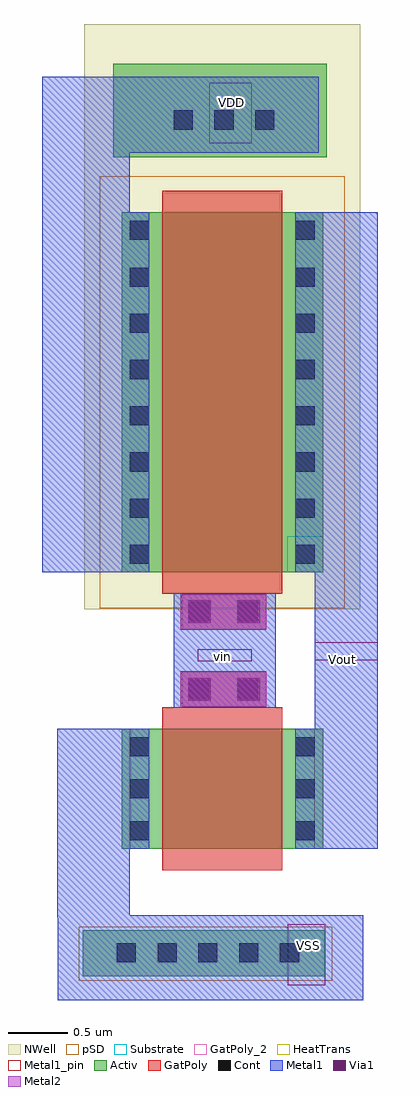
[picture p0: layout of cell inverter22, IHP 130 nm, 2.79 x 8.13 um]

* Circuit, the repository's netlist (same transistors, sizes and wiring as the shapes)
* Extracted by KLayout with SG13G2 LVS runset on : 04/12/2025 01:56

.SUBCKT inverter22
M$1 \$1 \$3 \$2 \$1 sg13_lv_nmos L=1u W=1u AS=0.34p AD=0.34p PS=2.68u PD=2.68u
M$2 \$4 \$3 \$2 \$4 sg13_lv_pmos L=1u W=3u AS=1.02p AD=1.02p PS=6.68u PD=6.68u
.ENDS inverter22

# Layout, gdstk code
from math import pi, radians
import gdstk
lib = gdstk.Library(unit=1e-6, precision=1e-09)
def R(c, l, rs):  # rectangles x0, y0, x1, y1
    for r in rs: c.add(gdstk.rectangle(r[:2], r[2:], *l))
def A(c, l, x, y, w, h, nx, ny, dx, dy):  # array of equal rectangles
    R(c, l, [(x+i*dx, y+j*dy, x+i*dx+w, y+j*dy+h) for i in range(nx) for j in range(ny)])
Activ = (1, 0)
GatPoly = (5, 0)
GatPoly_2 = (5, 2)
Cont = (6, 0)
Metal1 = (8, 0)
Metal1_pin = (8, 2)
Metal2 = (10, 0)
pSD = (14, 0)
Via1 = (19, 0)
NWell = (31, 0)
Substrate = (40, 0)
HeatTrans = (51, 0)

pmos_1 = lib.new_cell('pmos$1')
R(pmos_1, Activ, [(0,0,0.3,0.3), (0,0,1.68,3), (1.38,0,1.68,0.3)])
R(pmos_1, GatPoly, [(0.34,-0.18,1.34,3.18), (0.34,-0.18,1.34,3.18)])
A(pmos_1, Cont, 0.07, 0.07, 0.16, 0.16, 1, 7, 0, 0.385)
A(pmos_1, Cont, 1.45, 0.07, 0.16, 0.16, 1, 7, 0, 0.385)
R(pmos_1, Cont, [(0.07,2.77,0.23,2.93), (1.45,2.77,1.61,2.93)])
R(pmos_1, Metal1, [(0.07,0,0.23,3), (0.07,0,0.23,3), (1.45,0,1.61,3), (1.45,0,1.61,3)])
R(pmos_1, pSD, [(-0.18,-0.3,1.86,3.3)])
R(pmos_1, NWell, [(-0.31,-0.31,1.99,3.31)])
R(pmos_1, Substrate, [(1.38,0,1.68,0.3)])
R(pmos_1, HeatTrans, [(0.34,-0.18,1.34,3.18)])
pmos_1.add(gdstk.Label('pmos', (0.84,1.5), layer=63, texttype=0))
pmos_1.add(gdstk.Label('pmos', (0.84,1.5), layer=51, texttype=0))

nmos_1 = lib.new_cell('nmos$1')
R(nmos_1, Activ, [(0,0,0.3,0.3), (0,0,1.68,1), (1.38,0,1.68,0.3)])
R(nmos_1, GatPoly, [(0.34,-0.18,1.34,1.18)])
R(nmos_1, GatPoly_2, [(0.34,-0.18,1.34,1.18)])
A(nmos_1, Cont, 0.07, 0.07, 0.16, 0.16, 1, 3, 0, 0.35)
A(nmos_1, Cont, 1.45, 0.07, 0.16, 0.16, 1, 3, 0, 0.35)
R(nmos_1, Metal1, [(0.07,0,0.23,1), (1.45,0,1.61,1)])
R(nmos_1, Metal1_pin, [(0.07,0,0.23,1), (1.45,0,1.61,1)])
R(nmos_1, HeatTrans, [(0.34,-0.18,1.34,1.18)])
nmos_1.add(gdstk.Label('nmos', (0.84,0.5), layer=63, texttype=0))
nmos_1.add(gdstk.Label('nmos', (0.84,0.5), layer=51, texttype=0))

inverter22 = lib.new_cell('inverter22')
R(inverter22, Activ, [(-1.165,-3.21,0.855,-2.83), (-0.91,3.615,0.87,4.395)])
R(inverter22, GatPoly, [(-0.345,-0.97,0.365,-0.67), (-0.345,-0.325,0.365,-0.025)])
A(inverter22, Cont, -0.88, -3.095, 0.16, 0.16, 5, 1, 0.34, 0)
A(inverter22, Cont, -0.405, 3.845, 0.16, 0.16, 3, 1, 0.34, 0)
R(inverter22, Cont, [(0.48,-3.095,0.64,-2.935), (-0.275,-0.9,-0.115,-0.74), (-0.275,-0.9,-0.115,-0.74), (0.135,-0.9,0.295,-0.74), (-0.275,-0.255,-0.115,-0.095), (-0.275,-0.255,-0.115,-0.095), (0.135,-0.255,0.295,-0.095)])
R(inverter22, Metal1, [(-1.37,-3.41,1.175,-2.705), (-1.23,-3.285,0.965,-2.78), (-1.375,-2.725,-0.77,-1.15), (0.77,-2.15,1.295,3.155), (-0.405,-0.975,0.445,-0.02), (-1.5,0.155,-0.77,3.655), (-1.5,3.65,0.805,4.285), (-0.755,3.73,0.695,4.235)])
R(inverter22, Metal1_pin, [(0.545,-3.285,0.86,-2.78), (-0.205,-0.585,0.245,-0.485), (0.77,-0.58,1.295,-0.43), (-0.11,3.73,0.245,4.235)])
R(inverter22, Metal2, [(-0.335,-0.965,0.365,-0.675), (-0.335,-0.32,0.365,-0.03)])
R(inverter22, pSD, [(-1.195,-3.25,0.915,-2.8)])
R(inverter22, Via1, [(-0.285,-0.915,-0.095,-0.725), (-0.285,-0.915,-0.095,-0.725), (-0.285,-0.915,-0.095,-0.725), (-0.285,-0.915,-0.095,-0.725), (-0.285,-0.915,-0.095,-0.725), (-0.285,-0.915,-0.095,-0.725), (0.125,-0.915,0.315,-0.725), (-0.285,-0.27,-0.095,-0.08), (-0.285,-0.27,-0.095,-0.08), (-0.285,-0.27,-0.095,-0.08), (-0.285,-0.27,-0.095,-0.08), (-0.285,-0.27,-0.095,-0.08), (-0.285,-0.27,-0.095,-0.08), (0.125,-0.27,0.315,-0.08), (0.125,-0.27,0.315,-0.08), (0.125,-0.27,0.315,-0.08), (0.125,-0.27,0.315,-0.08), (0.125,-0.27,0.315,-0.08), (0.125,-0.27,0.315,-0.08)])
R(inverter22, NWell, [(-1.15,3.465,1.15,4.725)])
inverter22.add(gdstk.Reference(pmos_1, (-0.84,0.155)))
inverter22.add(gdstk.Reference(nmos_1, (0.84,-1.15), rotation=pi))
inverter22.add(gdstk.Label('VDD', (0.08,4.07), layer=8, texttype=2))
inverter22.add(gdstk.Label('Vout', (1,-0.57), layer=8, texttype=2))
inverter22.add(gdstk.Label('vin', (0,-0.55), layer=8, texttype=2))
inverter22.add(gdstk.Label('VSS', (0.715,-2.955), layer=8, texttype=2))

lib.write_gds('inverter22.gds')
